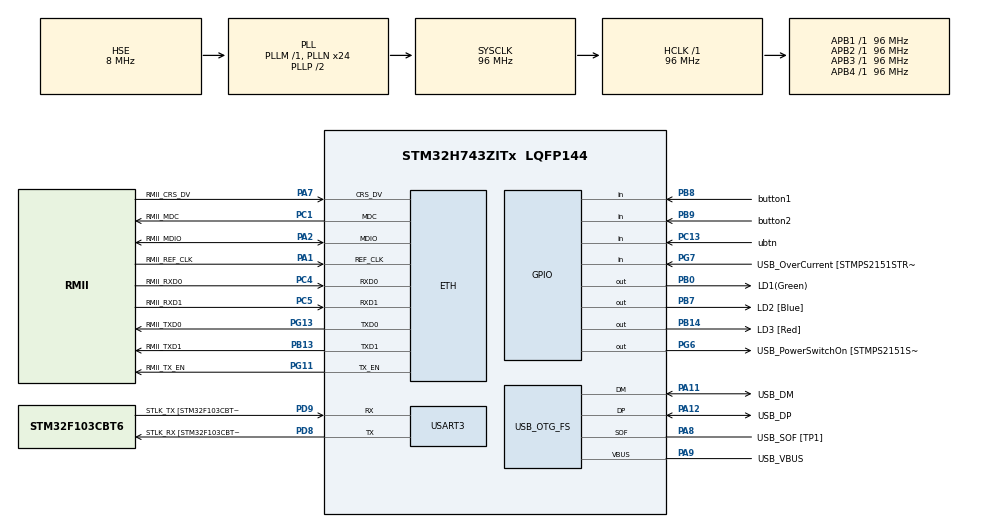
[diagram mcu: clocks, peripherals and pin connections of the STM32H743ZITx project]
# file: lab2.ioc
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ETH.MediaInterface=HAL_ETH_RMII_MODE
Mcu.Family=STM32H7
Mcu.Name=STM32H743ZITx
Mcu.Package=LQFP144
NVIC.PriorityGroup=NVIC_PRIORITYGROUP_4
NVIC.TIM16_IRQn=true\:0\:0\:false\:false\:true\:true\:true
PA1.GPIO_Label=RMII_REF_CLK
PA1.Mode=RMII
PA1.Signal=ETH_REF_CLK
PA10.GPIO_Label=USB_ID
PA10.Signal=USB_OTG_FS_ID
PA11.GPIO_Label=USB_DM
PA11.Mode=Device_Only
PA11.Signal=USB_OTG_FS_DM
PA12.GPIO_Label=USB_DP
PA12.Mode=Device_Only
PA12.Signal=USB_OTG_FS_DP
PA2.GPIO_Label=RMII_MDIO
PA2.Mode=RMII
PA2.Signal=ETH_MDIO
PA7.GPIO_Label=RMII_CRS_DV
PA7.Mode=RMII
PA7.Signal=ETH_CRS_DV
PA8.GPIO_Label=USB_SOF [TP1]
PA8.Mode=Activate_SOF_FS
PA8.Signal=USB_OTG_FS_SOF
PA9.GPIO_Label=USB_VBUS
PA9.Mode=Activate_VBUS
PA9.Signal=USB_OTG_FS_VBUS
PB0.GPIO_Label=LD1(Green)
PB0.Signal=GPIO_Output
PB13.GPIO_Label=RMII_TXD1
PB13.Mode=RMII
PB13.Signal=ETH_TXD1
PB14.GPIO_Label=LD3 [Red]
PB14.Signal=GPIO_Output
PB7.GPIO_Label=LD2 [Blue]
PB7.Signal=GPIO_Output
PB8.GPIO_Label=button1
PB8.GPIO_PuPd=GPIO_PULLUP
PB8.Signal=GPIO_Input
PB9.GPIO_Label=button2
PB9.Signal=GPIO_Input
PC1.GPIO_Label=RMII_MDC
PC1.Mode=RMII
PC1.Signal=ETH_MDC
PC13.GPIO_Label=ubtn
PC13.GPIO_PuPd=GPIO_PULLDOWN
PC13.Signal=GPIO_Input
PC14-OSC32_IN\ (OSC32_IN).Mode=LSE-External-Oscillator
PC14-OSC32_IN\ (OSC32_IN).Signal=RCC_OSC32_IN
PC15-OSC32_OUT\ (OSC32_OUT).Mode=LSE-External-Oscillator
PC15-OSC32_OUT\ (OSC32_OUT).Signal=RCC_OSC32_OUT
PC4.GPIO_Label=RMII_RXD0
PC4.Mode=RMII
PC4.Signal=ETH_RXD0
PC5.GPIO_Label=RMII_RXD1
PC5.Mode=RMII
PC5.Signal=ETH_RXD1
PD8.GPIO_Label=STLK_RX [STM32F103CBT6_PA3]
PD8.Mode=Asynchronous
PD8.Signal=USART3_TX
PD9.GPIO_Label=STLK_TX [STM32F103CBT6_PA2]
PD9.Mode=Asynchronous
PD9.Signal=USART3_RX
PG11.GPIO_Label=RMII_TX_EN
PG11.Mode=RMII
PG11.Signal=ETH_TX_EN
PG13.GPIO_Label=RMII_TXD0
PG13.Mode=RMII
PG13.Signal=ETH_TXD0
PG6.GPIO_Label=USB_PowerSwitchOn [STMPS2151STR_EN]
PG6.Signal=GPIO_Output
PG7.GPIO_Label=USB_OverCurrent [STMPS2151STR_FAULT]
PG7.Signal=GPIO_Input
PH0-OSC_IN\ (PH0).GPIO_Label=MCO
PH0-OSC_IN\ (PH0).Mode=HSE-External-Clock-Source
PH0-OSC_IN\ (PH0).Signal=RCC_OSC_IN
PH1-OSC_OUT\ (PH1).Signal=RCC_OSC_OUT
ProjectManager.HeapSize=0x200
ProjectManager.StackSize=0x400
ProjectManager.TargetToolchain=STM32CubeIDE
RCC.48MHZClocksFreq_Value=24000000
RCC.ADCFreq_Value=16125000
RCC.AHBFreq_Value=216000000
RCC.APB1CLKDivider=RCC_HCLK_DIV4
RCC.APB1Freq_Value=96000000
RCC.APB1TimFreq_Value=108000000
RCC.APB2CLKDivider=RCC_HCLK_DIV2
RCC.APB2Freq_Value=96000000
RCC.APB2TimFreq_Value=216000000
RCC.APB3Freq_Value=96000000
RCC.APB4Freq_Value=96000000
RCC.CortexFreq_Value=96000000
RCC.DIVM1=1
RCC.DIVN1=24
RCC.DIVQ1=4
RCC.HCLKFreq_Value=96000000
RCC.HSE_VALUE=8000000
RCC.HSI_VALUE=64000000
RCC.PLLM=25
RCC.PLLMUL=RCC_PLL_MUL9
RCC.PLLN=432
RCC.PLLQ=9
RCC.PRESCALERUSB=RCC_USBCLKSOURCE_PLL_DIV1_5
RCC.PWR_Regulator_Voltage_Scale=PWR_REGULATOR_VOLTAGE_SCALE1
RCC.SYSCLKFreq_VALUE=96000000
RCC.SYSCLKSource=RCC_SYSCLKSOURCE_PLLCLK
RCC.SYSCLKSourceVirtual=RCC_SYSCLKSOURCE_PLLCLK
RCC.USBFreq_Value=48000000
RCC.VCOOutputFreq_Value=432000000
TIM16.Period=1000-1
TIM16.Prescaler=9600-1
USART3.VirtualMode-Asynchronous=VM_ASYNC
USB_OTG_FS.VirtualMode=Device_Only
VP_TIM16_VS_ClockSourceINT.Mode=Enable_Timer
board=NUCLEO-H743ZI

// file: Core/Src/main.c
/* USER CODE BEGIN Header */
/**
  ******************************************************************************
  * @file           : main.c
  * @brief          : Main program body
  ******************************************************************************
  * @attention
  *
  * <h2><center>&copy; Copyright (c) 2020 STMicroelectronics.
  * All rights reserved.</center></h2>
  *
  * This software component is licensed by ST under BSD 3-Clause license,
  * the "License"; You may not use this file except in compliance with the
  * License. You may obtain a copy of the License at:
  *                        opensource.org/licenses/BSD-3-Clause
  *
  ******************************************************************************
  */
/* USER CODE END Header */
#include "main.h"
#include "string.h"

/* USER CODE BEGIN Includes */
#include <stdio.h>
/* USER CODE END Includes */

#if defined ( __ICCARM__ ) /*!< IAR Compiler */

#pragma location=0x30040000
ETH_DMADescTypeDef  DMARxDscrTab[ETH_RX_DESC_CNT]; /* Ethernet Rx DMA Descriptors */
#pragma location=0x30040060
ETH_DMADescTypeDef  DMATxDscrTab[ETH_TX_DESC_CNT]; /* Ethernet Tx DMA Descriptors */
#pragma location=0x30040200
uint8_t Rx_Buff[ETH_RX_DESC_CNT][ETH_MAX_PACKET_SIZE]; /* Ethernet Receive Buffers */

#elif defined ( __CC_ARM )  /* MDK ARM Compiler */

__attribute__((at(0x30040000))) ETH_DMADescTypeDef  DMARxDscrTab[ETH_RX_DESC_CNT]; /* Ethernet Rx DMA Descriptors */
__attribute__((at(0x30040060))) ETH_DMADescTypeDef  DMATxDscrTab[ETH_TX_DESC_CNT]; /* Ethernet Tx DMA Descriptors */
__attribute__((at(0x30040200))) uint8_t Rx_Buff[ETH_RX_DESC_CNT][ETH_MAX_PACKET_SIZE]; /* Ethernet Receive Buffer */

#elif defined ( __GNUC__ ) /* GNU Compiler */

ETH_DMADescTypeDef DMARxDscrTab[ETH_RX_DESC_CNT] __attribute__((section(".RxDecripSection"))); /* Ethernet Rx DMA Descriptors */
ETH_DMADescTypeDef DMATxDscrTab[ETH_TX_DESC_CNT] __attribute__((section(".TxDecripSection")));   /* Ethernet Tx DMA Descriptors */
uint8_t Rx_Buff[ETH_RX_DESC_CNT][ETH_MAX_PACKET_SIZE] __attribute__((section(".RxArraySection"))); /* Ethernet Receive Buffers */

#endif

ETH_TxPacketConfig TxConfig;

ETH_HandleTypeDef heth;

TIM_HandleTypeDef htim16;

UART_HandleTypeDef huart3;

PCD_HandleTypeDef hpcd_USB_OTG_FS;

void SystemClock_Config(void);
static void MX_GPIO_Init(void);
static void MX_ETH_Init(void);
static void MX_USART3_UART_Init(void);
static void MX_USB_OTG_FS_PCD_Init(void);
static void MX_TIM16_Init(void);

/* USER CODE BEGIN 0 */
#define TIME_INTER 10;
#define WAIT1 1000/TIME_INTER;
#define DO1 500/TIME_INTER;
#define WAIT2 3000/TIME_INTER;
#define DO2 100/TIME_INTER;
unsigned int systime;
int count;
int timee;
int cur1;
int last1;
int cur2;
int last2;

/* USER CODE END 0 */

int main(void)
{

  /* MCU Configuration--------------------------------------------------------*/

  /* Reset of all peripherals, Initializes the Flash interface and the Systick. */
  HAL_Init();

  /* Configure the system clock */
  SystemClock_Config();

  /* Initialize all configured peripherals */
  MX_GPIO_Init();
  MX_ETH_Init();
  MX_USART3_UART_Init();
  MX_USB_OTG_FS_PCD_Init();
  MX_TIM16_Init();
  /* USER CODE BEGIN 2 */
HAL_TIM_Base_Start_IT(&htim16);

  /* USER CODE END 2 */

   while(WAIT1<timee&&timee<WAIT2){switch (key) {
	case value:

		break;
	default:
		break;
}(systime%DO1==0){count++};}
   while(WAIT2<timee){if(systime%DO2==0){count++};}

  /* Infinite loop */
  while (1)
  {

  }
}

void SystemClock_Config(void)
{
  RCC_OscInitTypeDef RCC_OscInitStruct = {0};
  RCC_ClkInitTypeDef RCC_ClkInitStruct = {0};
  RCC_PeriphCLKInitTypeDef PeriphClkInitStruct = {0};

  /** Supply configuration update enable
  */
  HAL_PWREx_ConfigSupply(PWR_LDO_SUPPLY);
  /** Configure the main internal regulator output voltage
  */
  __HAL_PWR_VOLTAGESCALING_CONFIG(PWR_REGULATOR_VOLTAGE_SCALE1);

  while(!__HAL_PWR_GET_FLAG(PWR_FLAG_VOSRDY)) {}
  /** Initializes the RCC Oscillators according to the specified parameters
  * in the RCC_OscInitTypeDef structure.
  */
  RCC_OscInitStruct.OscillatorType = RCC_OSCILLATORTYPE_HSE;
  RCC_OscInitStruct.HSEState = RCC_HSE_BYPASS;
  RCC_OscInitStruct.PLL.PLLState = RCC_PLL_ON;
  RCC_OscInitStruct.PLL.PLLSource = RCC_PLLSOURCE_HSE;
  RCC_OscInitStruct.PLL.PLLM = 1;
  RCC_OscInitStruct.PLL.PLLN = 24;
  RCC_OscInitStruct.PLL.PLLP = 2;
  RCC_OscInitStruct.PLL.PLLQ = 4;
  RCC_OscInitStruct.PLL.PLLR = 2;
  RCC_OscInitStruct.PLL.PLLRGE = RCC_PLL1VCIRANGE_3;
  RCC_OscInitStruct.PLL.PLLVCOSEL = RCC_PLL1VCOWIDE;
  RCC_OscInitStruct.PLL.PLLFRACN = 0;
  if (HAL_RCC_OscConfig(&RCC_OscInitStruct) != HAL_OK)
  {
    Error_Handler();
  }
  /** Initializes the CPU, AHB and APB buses clocks
  */
  RCC_ClkInitStruct.ClockType = RCC_CLOCKTYPE_HCLK|RCC_CLOCKTYPE_SYSCLK
                              |RCC_CLOCKTYPE_PCLK1|RCC_CLOCKTYPE_PCLK2
                              |RCC_CLOCKTYPE_D3PCLK1|RCC_CLOCKTYPE_D1PCLK1;
  RCC_ClkInitStruct.SYSCLKSource = RCC_SYSCLKSOURCE_PLLCLK;
  RCC_ClkInitStruct.SYSCLKDivider = RCC_SYSCLK_DIV1;
  RCC_ClkInitStruct.AHBCLKDivider = RCC_HCLK_DIV1;
  RCC_ClkInitStruct.APB3CLKDivider = RCC_APB3_DIV1;
  RCC_ClkInitStruct.APB1CLKDivider = RCC_APB1_DIV1;
  RCC_ClkInitStruct.APB2CLKDivider = RCC_APB2_DIV1;
  RCC_ClkInitStruct.APB4CLKDivider = RCC_APB4_DIV1;

  if (HAL_RCC_ClockConfig(&RCC_ClkInitStruct, FLASH_LATENCY_1) != HAL_OK)
  {
    Error_Handler();
  }
  PeriphClkInitStruct.PeriphClockSelection = RCC_PERIPHCLK_USART3|RCC_PERIPHCLK_USB;
  PeriphClkInitStruct.Usart234578ClockSelection = RCC_USART234578CLKSOURCE_D2PCLK1;
  PeriphClkInitStruct.UsbClockSelection = RCC_USBCLKSOURCE_PLL;
  if (HAL_RCCEx_PeriphCLKConfig(&PeriphClkInitStruct) != HAL_OK)
  {
    Error_Handler();
  }
  /** Enable USB Voltage detector
  */
  HAL_PWREx_EnableUSBVoltageDetector();
}

static void MX_ETH_Init(void)
{

  heth.Instance = ETH;
  heth.Init.MACAddr[0] =   0x00;
  heth.Init.MACAddr[1] =   0x80;
  heth.Init.MACAddr[2] =   0xE1;
  heth.Init.MACAddr[3] =   0x00;
  heth.Init.MACAddr[4] =   0x00;
  heth.Init.MACAddr[5] =   0x00;
  heth.Init.MediaInterface = HAL_ETH_RMII_MODE;
  heth.Init.TxDesc = DMATxDscrTab;
  heth.Init.RxDesc = DMARxDscrTab;
  heth.Init.RxBuffLen = 1524;

  if (HAL_ETH_Init(&heth) != HAL_OK)
  {
    Error_Handler();
  }

  memset(&TxConfig, 0 , sizeof(ETH_TxPacketConfig));
  TxConfig.Attributes = ETH_TX_PACKETS_FEATURES_CSUM | ETH_TX_PACKETS_FEATURES_CRCPAD;
  TxConfig.ChecksumCtrl = ETH_CHECKSUM_IPHDR_PAYLOAD_INSERT_PHDR_CALC;
  TxConfig.CRCPadCtrl = ETH_CRC_PAD_INSERT;

}

static void MX_TIM16_Init(void)
{

  htim16.Instance = TIM16;
  htim16.Init.Prescaler = 9600-1;
  htim16.Init.CounterMode = TIM_COUNTERMODE_UP;
  htim16.Init.Period = 1000-1;
  htim16.Init.ClockDivision = TIM_CLOCKDIVISION_DIV1;
  htim16.Init.RepetitionCounter = 0;
  htim16.Init.AutoReloadPreload = TIM_AUTORELOAD_PRELOAD_DISABLE;
  if (HAL_TIM_Base_Init(&htim16) != HAL_OK)
  {
    Error_Handler();
  }

}

static void MX_USART3_UART_Init(void)
{

  huart3.Instance = USART3;
  huart3.Init.BaudRate = 115200;
  huart3.Init.WordLength = UART_WORDLENGTH_8B;
  huart3.Init.StopBits = UART_STOPBITS_1;
  huart3.Init.Parity = UART_PARITY_NONE;
  huart3.Init.Mode = UART_MODE_TX_RX;
  huart3.Init.HwFlowCtl = UART_HWCONTROL_NONE;
  huart3.Init.OverSampling = UART_OVERSAMPLING_16;
  huart3.Init.OneBitSampling = UART_ONE_BIT_SAMPLE_DISABLE;
  huart3.Init.ClockPrescaler = UART_PRESCALER_DIV1;
  huart3.AdvancedInit.AdvFeatureInit = UART_ADVFEATURE_NO_INIT;
  if (HAL_UART_Init(&huart3) != HAL_OK)
  {
    Error_Handler();
  }
  if (HAL_UARTEx_SetTxFifoThreshold(&huart3, UART_TXFIFO_THRESHOLD_1_8) != HAL_OK)
  {
    Error_Handler();
  }
  if (HAL_UARTEx_SetRxFifoThreshold(&huart3, UART_RXFIFO_THRESHOLD_1_8) != HAL_OK)
  {
    Error_Handler();
  }
  if (HAL_UARTEx_DisableFifoMode(&huart3) != HAL_OK)
  {
    Error_Handler();
  }

}

static void MX_USB_OTG_FS_PCD_Init(void)
{

  hpcd_USB_OTG_FS.Instance = USB_OTG_FS;
  hpcd_USB_OTG_FS.Init.dev_endpoints = 9;
  hpcd_USB_OTG_FS.Init.speed = PCD_SPEED_FULL;
  hpcd_USB_OTG_FS.Init.dma_enable = DISABLE;
  hpcd_USB_OTG_FS.Init.phy_itface = PCD_PHY_EMBEDDED;
  hpcd_USB_OTG_FS.Init.Sof_enable = ENABLE;
  hpcd_USB_OTG_FS.Init.low_power_enable = DISABLE;
  hpcd_USB_OTG_FS.Init.lpm_enable = DISABLE;
  hpcd_USB_OTG_FS.Init.battery_charging_enable = ENABLE;
  hpcd_USB_OTG_FS.Init.vbus_sensing_enable = ENABLE;
  hpcd_USB_OTG_FS.Init.use_dedicated_ep1 = DISABLE;
  if (HAL_PCD_Init(&hpcd_USB_OTG_FS) != HAL_OK)
  {
    Error_Handler();
  }

}

static void MX_GPIO_Init(void)
{
  GPIO_InitTypeDef GPIO_InitStruct = {0};

  /* GPIO Ports Clock Enable */
  __HAL_RCC_GPIOC_CLK_ENABLE();
  __HAL_RCC_GPIOH_CLK_ENABLE();
  __HAL_RCC_GPIOA_CLK_ENABLE();
  __HAL_RCC_GPIOB_CLK_ENABLE();
  __HAL_RCC_GPIOD_CLK_ENABLE();
  __HAL_RCC_GPIOG_CLK_ENABLE();

  /*Configure GPIO pin Output Level */
  HAL_GPIO_WritePin(GPIOB, LD1_Pin|LD3_Pin|LD2_Pin, GPIO_PIN_RESET);

  /*Configure GPIO pin Output Level */
  HAL_GPIO_WritePin(USB_PowerSwitchOn_GPIO_Port, USB_PowerSwitchOn_Pin, GPIO_PIN_RESET);

  /*Configure GPIO pin : ubtn_Pin */
  GPIO_InitStruct.Pin = ubtn_Pin;
  GPIO_InitStruct.Mode = GPIO_MODE_INPUT;
  GPIO_InitStruct.Pull = GPIO_PULLDOWN;
  HAL_GPIO_Init(ubtn_GPIO_Port, &GPIO_InitStruct);

  /*Configure GPIO pins : LD1_Pin LD3_Pin LD2_Pin */
  GPIO_InitStruct.Pin = LD1_Pin|LD3_Pin|LD2_Pin;
  GPIO_InitStruct.Mode = GPIO_MODE_OUTPUT_PP;
  GPIO_InitStruct.Pull = GPIO_NOPULL;
  GPIO_InitStruct.Speed = GPIO_SPEED_FREQ_LOW;
  HAL_GPIO_Init(GPIOB, &GPIO_InitStruct);

  /*Configure GPIO pin : USB_PowerSwitchOn_Pin */
  GPIO_InitStruct.Pin = USB_PowerSwitchOn_Pin;
  GPIO_InitStruct.Mode = GPIO_MODE_OUTPUT_PP;
  GPIO_InitStruct.Pull = GPIO_NOPULL;
  GPIO_InitStruct.Speed = GPIO_SPEED_FREQ_LOW;
  HAL_GPIO_Init(USB_PowerSwitchOn_GPIO_Port, &GPIO_InitStruct);

  /*Configure GPIO pin : USB_OverCurrent_Pin */
  GPIO_InitStruct.Pin = USB_OverCurrent_Pin;
  GPIO_InitStruct.Mode = GPIO_MODE_INPUT;
  GPIO_InitStruct.Pull = GPIO_NOPULL;
  HAL_GPIO_Init(USB_OverCurrent_GPIO_Port, &GPIO_InitStruct);

  /*Configure GPIO pin : button1_Pin */
  GPIO_InitStruct.Pin = button1_Pin;
  GPIO_InitStruct.Mode = GPIO_MODE_INPUT;
  GPIO_InitStruct.Pull = GPIO_PULLUP;
  HAL_GPIO_Init(button1_GPIO_Port, &GPIO_InitStruct);

  /*Configure GPIO pin : button2_Pin */
  GPIO_InitStruct.Pin = button2_Pin;
  GPIO_InitStruct.Mode = GPIO_MODE_INPUT;
  GPIO_InitStruct.Pull = GPIO_NOPULL;
  HAL_GPIO_Init(button2_GPIO_Port, &GPIO_InitStruct);

}

/* USER CODE BEGIN 4 */
void HAL_TIM_PeriodElapsedCallback(TIM_HandleTypeDef *htim)
{systime++;
if(htim==(&htim16))
	{	HAL_GPIO_TogglePin(LD2_GPIO_Port,LD2_Pin);
	HAL_GPIO_WritePin(LD1_GPIO_Port,LD1_Pin,HAL_GPIO_ReadPin(button1_GPIO_Port, button1_Pin));

	}

}

int readBtn(){
	if(HAL_GPIO_ReadPin(ubtn_GPIO_Port, ubtn_Pin))
{
	last2=0;
	cur2=0;
	last1=cur1;
	cur1=1;
  if(last1==0&&cur1==1){count++;}
  if(last1==1&&cur1==1){timee++;}
}
	else if(HAL_GPIO_ReadPin(button1_GPIO_Port, button1_Pin))
	{
		last1=0;
		cur1=0;
		last2=cur2;
		cur2=1;
	  if(last2==0&&cur2==1){count--;}
	  if(last2==1&&cur2==1){timee++;}
	}
	else {last1=0;cur1=0;last2=0;cur2=0;}

}

/* USER CODE END 4 */

void Error_Handler(void)
{
}

/************************ (C) COPYRIGHT STMicroelectronics *****END OF FILE****/
